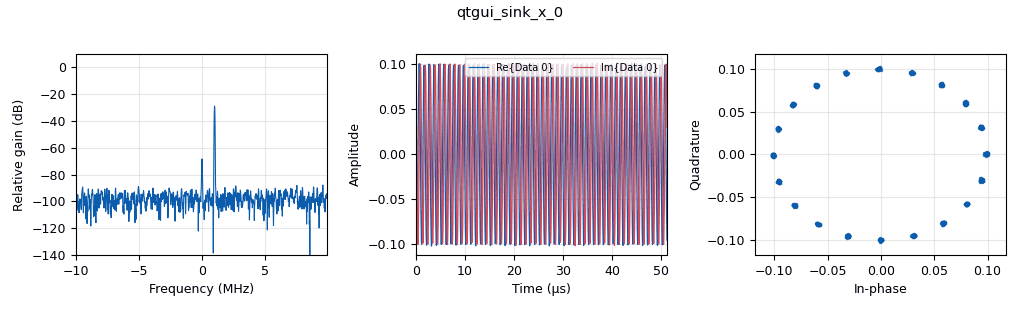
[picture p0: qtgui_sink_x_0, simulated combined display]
options:
  parameters:
    generate_options: qt_gui
    id: frequencyXlatingFIRTest
    output_language: python
    title: Frequency Xlating FIR Test
  states: {}

blocks:
- name: offsetFreq
  id: variable_qtgui_range
  parameters:
    orient: Qt.Horizontal
    start: '0'
    step: '1'
    stop: 2e6
    value: '50'
  states: {}
- name: samp_rate
  id: variable
  parameters:
    value: 20e6
  states: {}
- name: analog_noise_source_x_0
  id: analog_noise_source_x
  parameters:
    amp: '0.001'
    noise_type: analog.GR_GAUSSIAN
    seed: '0'
    type: complex
  states: {}
- name: analog_sig_source_x_0
  id: analog_sig_source_x
  parameters:
    amp: '0.1'
    freq: 1e6
    offset: '0'
    phase: '0'
    samp_rate: samp_rate
    type: complex
    waveform: analog.GR_COS_WAVE
  states: {}
- name: blocks_add_const_vxx_0
  id: blocks_add_const_vxx
  parameters:
    const: '0.001'
    type: complex
  states: {}
- name: blocks_add_xx_0
  id: blocks_add_xx
  parameters:
    type: complex
  states: {}
- name: freq_xlating_fir_filter_xxx_0
  id: freq_xlating_fir_filter_xxx
  parameters:
    center_freq: offsetFreq
    decim: '1'
    samp_rate: samp_rate
    taps: '[1]'
    type: ccc
  states: {}
- name: qtgui_sink_x_0
  id: qtgui_sink_x
  parameters:
    bw: samp_rate
    fc: '0'
    fftsize: '1024'
    rate: '60'
    type: complex
    wintype: firdes.WIN_BLACKMAN_hARRIS
  states: {}

connections:
- [analog_noise_source_x_0, '0', blocks_add_xx_0, '1']
- [analog_sig_source_x_0, '0', blocks_add_xx_0, '0']
- [blocks_add_const_vxx_0, '0', freq_xlating_fir_filter_xxx_0, '0']
- [blocks_add_xx_0, '0', blocks_add_const_vxx_0, '0']
- [freq_xlating_fir_filter_xxx_0, '0', qtgui_sink_x_0, '0']

metadata:
  file_format: 1
